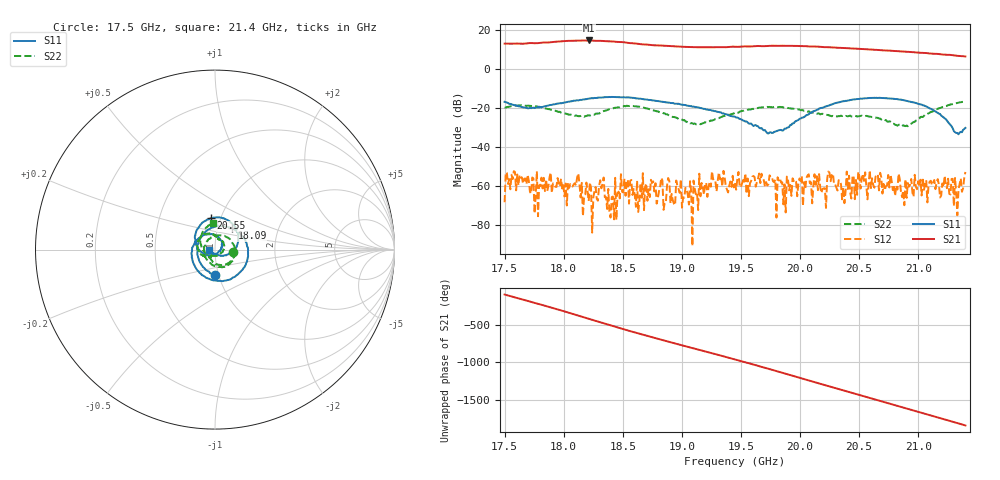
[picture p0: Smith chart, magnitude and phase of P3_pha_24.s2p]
!Created with skrf (http://scikit-rf.org).
# GHz S RI R 50.0
!freq ReS11 ImS11 ReS21 ImS21 ReS12 ImS12 ReS22 ImS22
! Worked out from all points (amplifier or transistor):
!   401 points, 17.5 GHz to 21.4 GHz, reference 50 ohm
!   highest |S21| = 14.5 dB at 18.21 GHz (marker M1)
!   |S21| within 3 dB of that: start of sweep to 18.94 GHz (the widest 1 of 2)
!   unconditionally stable (mu >= 1): start of sweep to end of sweep
!   at 18.14 GHz: K = 177.74, MAG = 14.6 dB, |S12| = -65.7 dB
!   at 19.45 GHz: K = 105.20, MAG = 11.3 dB, |S12| = -57.8 dB
!   at 21.4 GHz: K = 102.50, MAG = 6.4 dB, |S12| = -52.7 dB
!   S11 on the Smith chart (normalised r, x): 17.5 GHz: 0.96, -0.28; 18.09 GHz: 1.17, +0.29; 20.55 GHz: 0.90, +0.33; 21.4 GHz: 0.94, +0.00
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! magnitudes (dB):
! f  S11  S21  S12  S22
! 17.5 GHz  -16.9  12.9  -68.2  -20.0
! 17.57 GHz  -18.3  12.8  -56.4  -19.1
! 17.77 GHz  -19.9  13.1  -52.4  -19.2
! 17.81 GHz  -19.7  13.3  -55.6  -19.7
! 18.09 GHz  -16.3  14.3  -59.0  -23.6
! 18.15 GHz  -15.9  14.4  -58.3  -23.9
! 18.21 GHz  -15.3  14.5  -67.6  -23.8
! 18.26 GHz  -14.9  14.3  -62.5  -23.5
! 18.32 GHz  -14.7  14.3  -61.1  -22.1
! 18.41 GHz  -14.4  14.0  -65.6  -20.4
! 18.52 GHz  -14.7  13.4  -64.9  -19.2
! 18.62 GHz  -15.1  12.8  -57.2  -19.3
! 18.81 GHz  -16.6  12.0  -62.5  -22.1
! 19.14 GHz  -19.8  11.0  -72.2  -28.3
! 19.45 GHz  -24.5  11.3  -57.8  -22.4
! 19.75 GHz  -32.5  11.8  -55.3  -19.6
! 19.86 GHz  -31.5  11.8  -69.3  -19.8
! 20.1 GHz  -22.1  11.4  -68.8  -22.4
! 20.55 GHz  -15.0  10.0  -52.9  -24.2
! 20.76 GHz  -15.2  9.3  -60.7  -26.8
! 21.32 GHz  -32.8  6.7  -62.9  -17.6
! 21.4 GHz  -30.2  6.3  -52.7  -16.6
